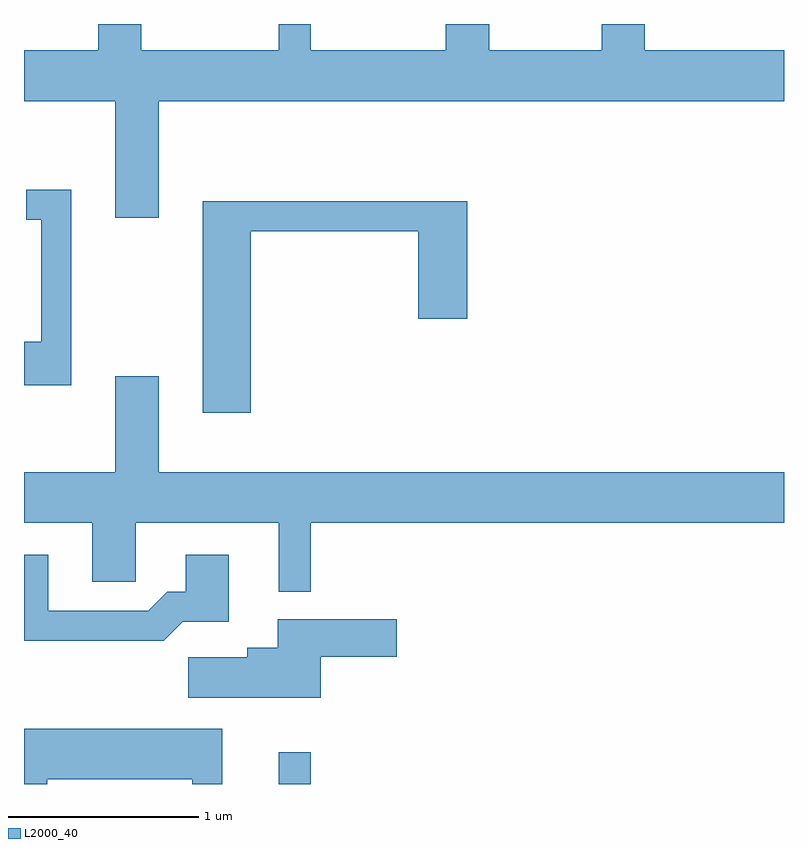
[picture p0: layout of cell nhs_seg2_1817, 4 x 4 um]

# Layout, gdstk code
import gdstk
lib = gdstk.Library(unit=1e-6, precision=1e-09)
def R(c, l, rs):  # rectangles x0, y0, x1, y1
    for r in rs: c.add(gdstk.rectangle(r[:2], r[2:], *l))
def P(c, l, *ps):  # polygons
    for p in ps: c.add(gdstk.Polygon(p, *l))
L2000_40 = (2000, 40)

nhs_seg2_1817 = lib.new_cell('nhs_seg2_1817')
R(nhs_seg2_1817, L2000_40, [(238.951,1075.802,239.119,1075.968)])
P(nhs_seg2_1817, L2000_40, [(238.319,1079.396),(241.611,1079.396),(241.611,1079.664),(240.879,1079.664),(240.879,1079.802),(240.651,1079.802),(240.651,1079.664),(240.059,1079.664),(240.059,1079.802),(239.831,1079.802),(239.831,1079.664),(239.119,1079.664),(239.119,1079.802),(238.951,1079.802),(238.951,1079.664),(238.229,1079.664),(238.229,1079.802),(238.001,1079.802),(238.001,1079.664),(237.611,1079.664),(237.611,1079.396),(238.091,1079.396),(238.091,1078.781),(238.319,1078.781)],
  [(237.859,1078.929),(237.623,1078.929),(237.623,1078.771),(237.701,1078.771),(237.701,1078.129),(237.611,1078.129),(237.611,1077.901),(237.859,1077.901)],
  [(238.804,1078.711),(239.686,1078.711),(239.686,1078.251),(239.944,1078.251),(239.944,1078.869),(238.551,1078.869),(238.551,1077.756),(238.804,1077.756)],
  [(239.119,1077.176),(241.611,1077.176),(241.611,1077.444),(238.319,1077.444),(238.319,1077.949),(238.091,1077.949),(238.091,1077.444),(237.611,1077.444),(237.611,1077.176),(237.971,1077.176),(237.971,1076.866),(238.199,1076.866),(238.199,1077.176),(238.951,1077.176),(238.951,1076.813),(239.119,1076.813)],
  [(238.447,1076.656),(238.689,1076.656),(238.689,1077.009),(238.461,1077.009),(238.461,1076.814),(238.364,1076.814),(238.264,1076.714),(237.739,1076.714),(237.739,1077.009),(237.611,1077.009),(237.611,1076.556),(238.347,1076.556)],
  [(239.174,1076.471),(239.574,1076.471),(239.574,1076.669),(238.946,1076.669),(238.946,1076.519),(238.786,1076.519),(238.786,1076.469),(238.476,1076.469),(238.476,1076.256),(239.174,1076.256)],
  [(237.734,1075.826),(238.496,1075.826),(238.496,1075.802),(238.654,1075.802),(238.654,1076.094),(237.611,1076.094),(237.611,1075.802),(237.734,1075.802)])

lib.write_gds('nhs_seg2_1817.gds')
